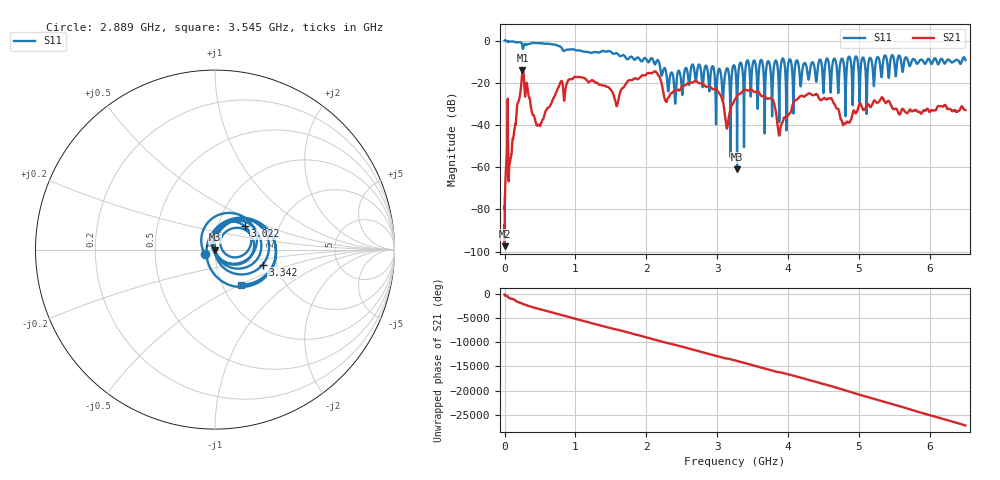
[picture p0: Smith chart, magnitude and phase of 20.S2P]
!Keysight Technologies,E5063A,MY54503115,A.05.08
!Date: Mon Mar 04 15:50:29 2024
!Data & Calibration Information:
!Freq	S11:NONE(--)	S21:NONE(--)	S12:NONE(--)	S22:NONE(--)
# Hz S dB R 50
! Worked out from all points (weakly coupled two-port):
!   10001 points, 100 kHz to 6.5 GHz, reference 50 ohm
!   highest |S21| = -14.17 dB at 251.6 MHz (marker M1); lowest = -97.4 dB at 1.4 MHz (marker M2)
!   lowest |S11| = -61.0 dB at 3.279 GHz (marker M3), VSWR 1.00, Z = 50 - j0.0826 ohm
!   |S11| at or under -10 dB: 2.175 GHz to 3.414 GHz (1.238 GHz wide, 44.3 % of centre); 3.727 GHz to 3.813 GHz (85.47 MHz wide, 2.27 % of centre); 4.136 GHz to 4.432 GHz (296.4 MHz wide, 6.92 % of centre) (the widest 3 of 31)
!   S12 and S22 are empty: the file has one direction only
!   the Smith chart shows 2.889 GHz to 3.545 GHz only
!   S11 on the Smith chart (normalised r, x): 2.889 GHz: 0.89, -0.05; 3.022 GHz: 1.34, +0.37; 3.342 GHz: 1.68, -0.31; 3.545 GHz: 1.23, -0.51
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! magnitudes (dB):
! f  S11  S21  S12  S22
! 100 kHz  0.0  -90.4  -  -
! 1.4 MHz  0.0  -97.4  -  -
! 251.6 MHz  -3.3  -14.2  -  -
! 479.1 MHz  -1.2  -39.8  -  -
! 784 MHz  -2.8  -20.1  -  -
! 1.084 GHz  -4.9  -17.4  -  -
! 1.579 GHz  -5.9  -31.0  -  -
! 2.167 GHz  -9.4  -16.2  -  -
! 2.282 GHz  -15.9  -29.1  -  -
! 2.889 GHz  -24.0  -21.7  -  -
! 3.022 GHz  -13.5  -24.8  -  -
! 3.136 GHz  -13.2  -41.7  -  -
! 3.25 GHz  -12.8  -27.8  -  -
! 3.279 GHz  -61.0  -26.1  -  -
! 3.342 GHz  -11.1  -24.6  -  -
! 3.545 GHz  -12.3  -24.3  -  -
! 3.775 GHz  -33.1  -27.7  -  -
! 3.879 GHz  -23.9  -44.5  -  -
! 4.334 GHz  -10.5  -25.7  -  -
! 4.792 GHz  -13.8  -39.1  -  -
! 5.417 GHz  -17.6  -28.5  -  -
! 6.5 GHz  -9.3  -32.9  -  -
